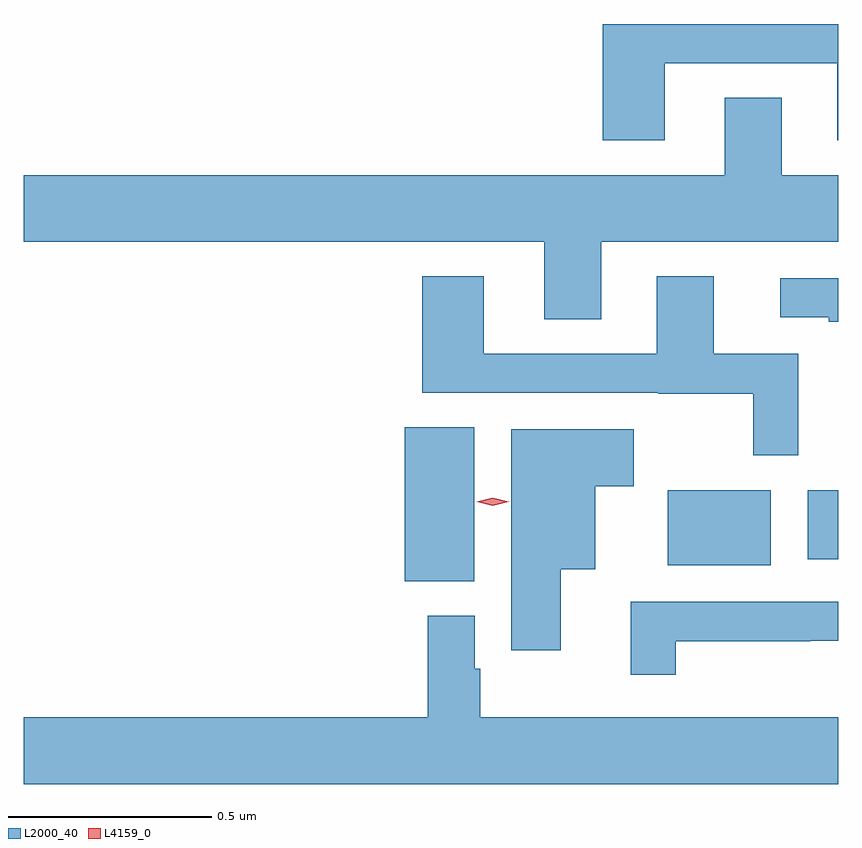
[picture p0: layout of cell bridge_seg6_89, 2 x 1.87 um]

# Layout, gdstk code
import gdstk
lib = gdstk.Library(unit=1e-6, precision=1e-09)
def R(c, l, rs):  # rectangles x0, y0, x1, y1
    for r in rs: c.add(gdstk.rectangle(r[:2], r[2:], *l))
def P(c, l, *ps):  # polygons
    for p in ps: c.add(gdstk.Polygon(p, *l))
L2000_40 = (2000, 40)
L4159_0 = (4159, 0)

bridge_seg6_89 = lib.new_cell('bridge_seg6_89')
R(bridge_seg6_89, L2000_40, [(724.541,957.158,724.711,957.536), (725.186,957.197,725.44,957.382), (725.531,957.212,725.605,957.382)])
P(bridge_seg6_89, L2000_40, [(725.179,958.431),(725.603,958.431),(725.603,958.242),(725.605,958.242),(725.605,958.527),(725.027,958.527),(725.027,958.241),(725.179,958.241)],
  [(725.023,957.992),(725.605,957.992),(725.605,958.156),(725.467,958.156),(725.467,958.346),(725.327,958.346),(725.327,958.156),(723.605,958.156),(723.605,957.992),(724.883,957.992),(724.883,957.802),(725.023,957.802)],
  [(725.507,957.717),(725.299,957.717),(725.299,957.907),(725.159,957.907),(725.159,957.717),(724.735,957.717),(724.735,957.907),(724.583,957.907),(724.583,957.621),(725.163,957.621),(725.163,957.619),(725.397,957.619),(725.397,957.467),(725.507,957.467)],
  [(725.605,957.903),(725.463,957.903),(725.463,957.807),(725.582,957.807),(725.582,957.795),(725.605,957.795)],
  [(724.924,957.188),(725.008,957.188),(725.008,957.392),(725.103,957.392),(725.103,957.532),(724.802,957.532),(724.802,956.988),(724.924,956.988)],
  [(725.206,957.011),(725.537,957.011),(725.537,957.012),(725.605,957.012),(725.605,957.108),(725.096,957.108),(725.096,956.928),(725.206,956.928)],
  [(725.605,956.824),(724.726,956.824),(724.726,956.943),(724.713,956.943),(724.713,957.073),(724.597,957.073),(724.597,956.824),(723.605,956.824),(723.605,956.66),(725.605,956.66)])
P(bridge_seg6_89, L4159_0, [(724.757,957.343),(724.717,957.353),(724.717,957.353),(724.717,957.353),(724.757,957.363),(724.796,957.353),(724.797,957.353),(724.796,957.353)])

lib.write_gds('bridge_seg6_89.gds')
